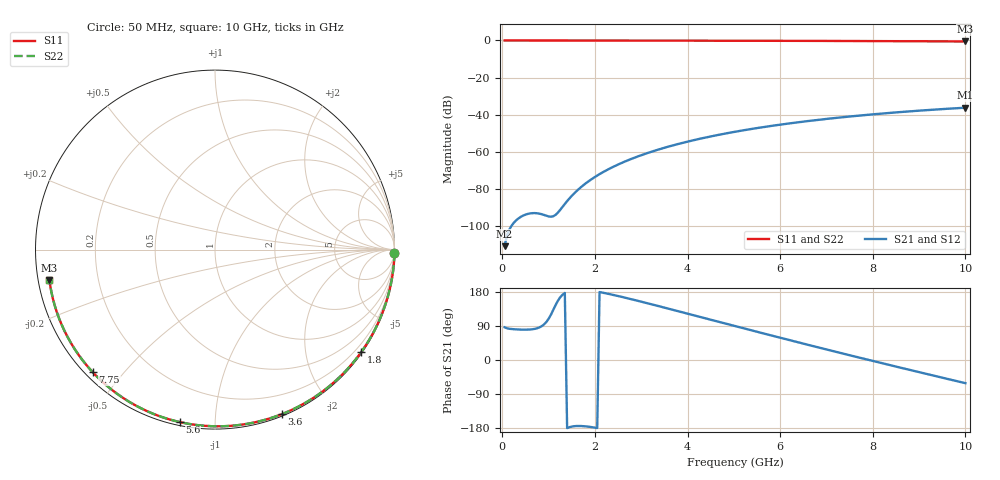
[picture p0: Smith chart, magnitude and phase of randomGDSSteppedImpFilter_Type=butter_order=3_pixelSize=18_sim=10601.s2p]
! freq	dB(S11)	phase(S11)	dB(S12)	phase(S12)
!  dB(S21)	phase(S21)	dB(S22)	phase(S22)
!S-par simulation data
#  GHz  S  DB  R 50
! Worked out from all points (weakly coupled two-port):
!   200 points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, 50 MHz to 10 GHz, reference 50 ohm
!   highest |S21| = -36.27 dB at 10 GHz (marker M1); lowest = -110.9 dB at 50 MHz (marker M2)
!   lowest |S11| = -0.6 dB at 10 GHz (marker M3), VSWR 31.34, Z = 1.61 - j4.61 ohm
!   |S11| at or under -10 dB: nowhere
!   |S22| runs from -0.6 to 0.0 dB; largest |S21 - S12| = 0
!   S11 on the Smith chart (normalised r, x): 50 MHz: open; 1.8 GHz: 0.03, -3.17; 3.6 GHz: 0.02, -1.48; 5.6 GHz: 0.02, -0.82; 7.75 GHz: 0.02, -0.42; 10 GHz: 0.03, -0.09
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0.05  -0.00 -1.0  -110.94 86.3  -110.94 86.3  -0.00 -1.0
0.45  -0.01 -8.9  -94.46 80.0  -94.46 80.0  -0.01 -8.9
0.85  -0.02 -16.8  -93.70 89.2  -93.70 89.2  -0.02 -16.8
1.65  -0.04 -32.2  -80.17 -174.1  -80.17 -174.1  -0.04 -32.2
1.75  -0.04 -34.1  -78.07 -174.6  -78.07 -174.6  -0.04 -34.1
1.8  -0.04 -35.0  -77.10 -175.1  -77.10 -175.1  -0.04 -35.0
1.95  -0.05 -37.9  -74.44 -177.5  -74.44 -177.5  -0.05 -37.9
2.1  -0.05 -40.7  -72.09 179.3  -72.09 179.3  -0.05 -40.7
2.3  -0.06 -44.4  -69.34 174.3  -69.34 174.3  -0.06 -44.4
2.5  -0.06 -48.2  -66.92 168.9  -66.92 168.9  -0.06 -48.2
2.9  -0.07 -55.5  -62.79 157.0  -62.79 157.0  -0.07 -55.5
3.4  -0.09 -64.5  -58.61 141.4  -58.61 141.4  -0.09 -64.5
3.6  -0.09 -68.0  -57.16 135.1  -57.16 135.1  -0.09 -68.0
4.3  -0.11 -80.1  -52.83 112.7  -52.83 112.7  -0.11 -80.1
5.05  -0.14 -92.6  -49.13 88.8  -49.13 88.8  -0.14 -92.6
5.6  -0.17 -101.5  -46.86 71.3  -46.86 71.3  -0.17 -101.5
6.15  -0.20 -110.3  -44.90 54.1  -44.90 54.1  -0.20 -110.3
6.7  -0.23 -118.8  -43.17 37.0  -43.17 37.0  -0.23 -118.8
7.75  -0.31 -134.9  -40.42 5.1  -40.42 5.1  -0.31 -134.9
8.35  -0.37 -144.0  -39.10 -12.9  -39.10 -12.9  -0.37 -144.0
9.2  -0.46 -157.0  -37.51 -37.9  -37.51 -37.9  -0.46 -157.0
10  -0.55 -169.5  -36.27 -61.1  -36.27 -61.1  -0.55 -169.5
